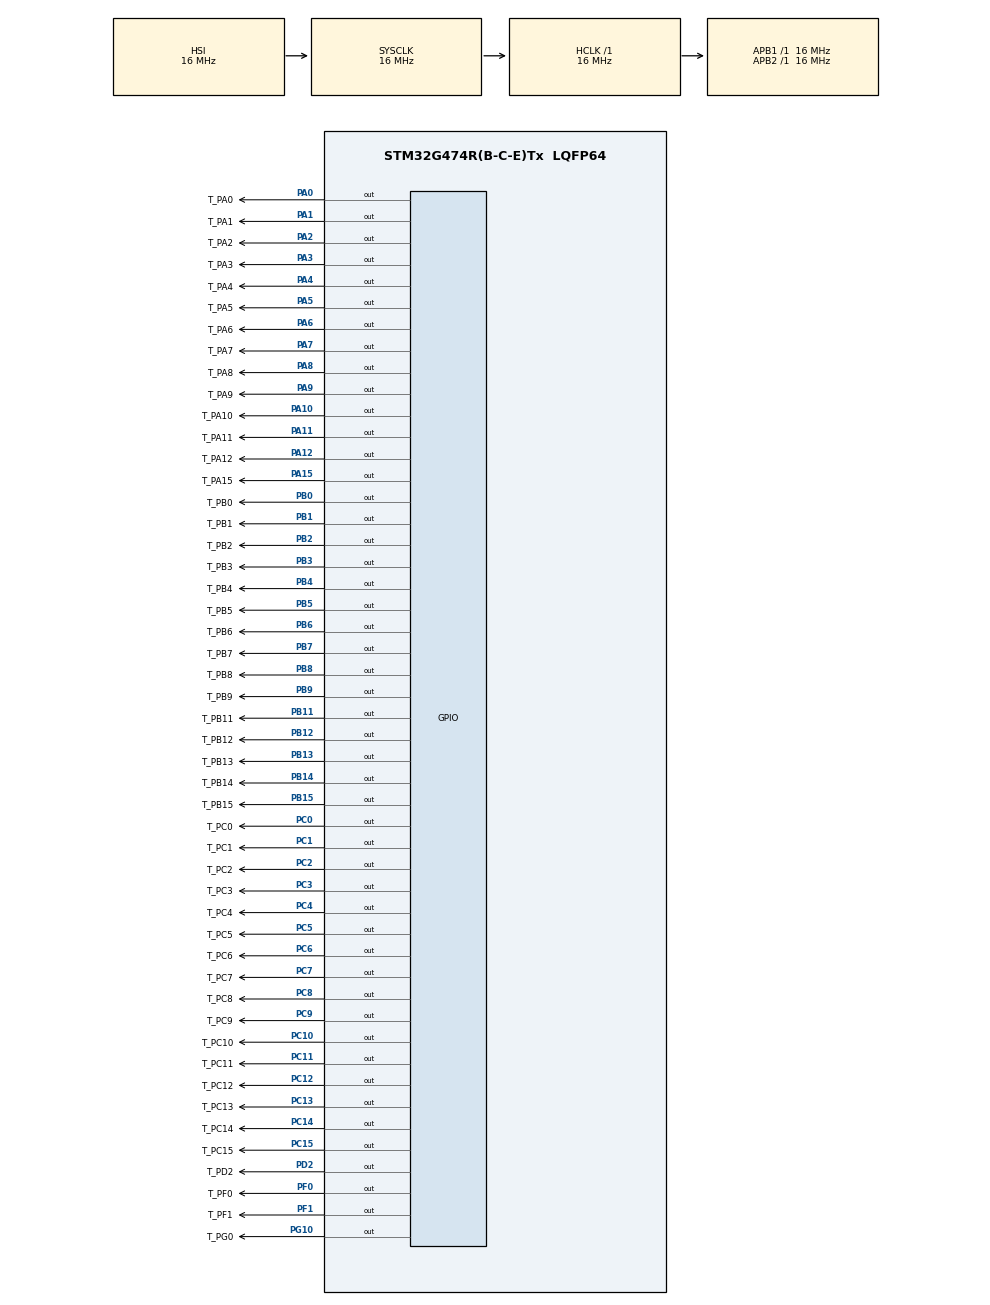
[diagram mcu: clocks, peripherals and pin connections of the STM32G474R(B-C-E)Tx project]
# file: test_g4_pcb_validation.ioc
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Mcu.Family=STM32G4
Mcu.Name=STM32G474R(B-C-E)Tx
Mcu.Package=LQFP64
NVIC.PriorityGroup=NVIC_PRIORITYGROUP_4
PA0.GPIO_Label=T_PA0
PA0.Signal=GPIO_Output
PA1.GPIO_Label=T_PA1
PA1.Signal=GPIO_Output
PA10.GPIO_Label=T_PA10
PA10.Signal=GPIO_Output
PA11.GPIO_Label=T_PA11
PA11.Signal=GPIO_Output
PA12.GPIO_Label=T_PA12
PA12.Signal=GPIO_Output
PA15.GPIO_Label=T_PA15
PA15.Signal=GPIO_Output
PA2.GPIO_Label=T_PA2
PA2.Signal=GPIO_Output
PA3.GPIO_Label=T_PA3
PA3.Signal=GPIO_Output
PA4.GPIO_Label=T_PA4
PA4.Signal=GPIO_Output
PA5.GPIO_Label=T_PA5
PA5.Signal=GPIO_Output
PA6.GPIO_Label=T_PA6
PA6.Signal=GPIO_Output
PA7.GPIO_Label=T_PA7
PA7.Signal=GPIO_Output
PA8.GPIO_Label=T_PA8
PA8.Signal=GPIO_Output
PA9.GPIO_Label=T_PA9
PA9.Signal=GPIO_Output
PB0.GPIO_Label=T_PB0
PB0.Signal=GPIO_Output
PB1.GPIO_Label=T_PB1
PB1.Signal=GPIO_Output
PB11.GPIO_Label=T_PB11
PB11.Signal=GPIO_Output
PB12.GPIO_Label=T_PB12
PB12.Signal=GPIO_Output
PB13.GPIO_Label=T_PB13
PB13.Signal=GPIO_Output
PB14.GPIO_Label=T_PB14
PB14.Signal=GPIO_Output
PB15.GPIO_Label=T_PB15
PB15.Signal=GPIO_Output
PB2.GPIO_Label=T_PB2
PB2.Signal=GPIO_Output
PB3.GPIO_Label=T_PB3
PB3.Signal=GPIO_Output
PB4.GPIO_Label=T_PB4
PB4.Signal=GPIO_Output
PB5.GPIO_Label=T_PB5
PB5.Signal=GPIO_Output
PB6.GPIO_Label=T_PB6
PB6.Signal=GPIO_Output
PB7.GPIO_Label=T_PB7
PB7.Signal=GPIO_Output
PB8-BOOT0.GPIO_Label=T_PB8
PB8-BOOT0.Signal=GPIO_Output
PB9.GPIO_Label=T_PB9
PB9.Signal=GPIO_Output
PC0.GPIO_Label=T_PC0
PC0.Signal=GPIO_Output
PC1.GPIO_Label=T_PC1
PC1.Signal=GPIO_Output
PC10.GPIO_Label=T_PC10
PC10.Signal=GPIO_Output
PC11.GPIO_Label=T_PC11
PC11.Signal=GPIO_Output
PC12.GPIO_Label=T_PC12
PC12.Signal=GPIO_Output
PC13.GPIO_Label=T_PC13
PC13.Signal=GPIO_Output
PC14-OSC32_IN.GPIO_Label=T_PC14
PC14-OSC32_IN.Signal=GPIO_Output
PC15-OSC32_OUT.GPIO_Label=T_PC15
PC15-OSC32_OUT.Signal=GPIO_Output
PC2.GPIO_Label=T_PC2
PC2.Signal=GPIO_Output
PC3.GPIO_Label=T_PC3
PC3.Signal=GPIO_Output
PC4.GPIO_Label=T_PC4
PC4.Signal=GPIO_Output
PC5.GPIO_Label=T_PC5
PC5.Signal=GPIO_Output
PC6.GPIO_Label=T_PC6
PC6.Signal=GPIO_Output
PC7.GPIO_Label=T_PC7
PC7.Signal=GPIO_Output
PC8.GPIO_Label=T_PC8
PC8.Signal=GPIO_Output
PC9.GPIO_Label=T_PC9
PC9.Signal=GPIO_Output
PD2.GPIO_Label=T_PD2
PD2.Signal=GPIO_Output
PF0-OSC_IN.GPIO_Label=T_PF0
PF0-OSC_IN.Signal=GPIO_Output
PF1-OSC_OUT.GPIO_Label=T_PF1
PF1-OSC_OUT.Signal=GPIO_Output
PG10-NRST.GPIO_Label=T_PG0
PG10-NRST.Signal=GPIO_Output
ProjectManager.HeapSize=0x200
ProjectManager.StackSize=0x400
ProjectManager.TargetToolchain=STM32CubeIDE
RCC.ADC12Freq_Value=16000000
RCC.ADC345Freq_Value=16000000
RCC.AHBFreq_Value=16000000
RCC.APB1Freq_Value=16000000
RCC.APB1TimFreq_Value=16000000
RCC.APB2Freq_Value=16000000
RCC.APB2TimFreq_Value=16000000
RCC.CortexFreq_Value=16000000
RCC.EXTERNAL_CLOCK_VALUE=12288000
RCC.HCLKFreq_Value=16000000
RCC.HSE_VALUE=8000000
RCC.HSI48_VALUE=48000000
RCC.HSI_VALUE=16000000
RCC.LSE_VALUE=32768
RCC.PLLN=21
RCC.SYSCLKFreq_VALUE=16000000
RCC.USBFreq_Value=168000000
RCC.VCOOutputFreq_Value=336000000
board=custom

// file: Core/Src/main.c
/* USER CODE BEGIN Header */
/**
  ******************************************************************************
  * @file           : main.c
  * @brief          : Main program body
  ******************************************************************************
  * @attention
  *
  * Copyright (c) 2024 STMicroelectronics.
  * All rights reserved.
  *
  * This software is licensed under terms that can be found in the LICENSE file
  * in the root directory of this software component.
  * If no LICENSE file comes with this software, it is provided AS-IS.
  *
  ******************************************************************************
  */
/* USER CODE END Header */
#include "main.h"
#include "gpio.h"

void SystemClock_Config(void);

/* USER CODE BEGIN 0 */
void delay_us_DWT(unsigned long  uSec)
{
	volatile uint32_t cycles = (SystemCoreClock / 1000000L)*uSec;
	volatile uint32_t start = DWT->CYCCNT;
	do {
	} while (DWT->CYCCNT - start < cycles);
}

#define SLOTS 4
static volatile uint32_t start[4];

void start_us_DWT(int slot)
{
	if (slot < SLOTS) {
		start[slot] = DWT->CYCCNT;
	}
}

unsigned int get_us_DWT(int slot)
{
	if (slot < SLOTS) {
		unsigned long long val;
		if (DWT->CYCCNT < start[slot]) {
			val = (DWT->CYCCNT - start[slot]) + (1LL << 32);
		} else {
			val = (DWT->CYCCNT - start[slot]);
		}
		return val * 1000000L / SystemCoreClock;
	}
	return 0xFFFFFFFF;
}

void doPin(GPIO_TypeDef* port, uint16_t pin){
	HAL_GPIO_WritePin(port, pin, GPIO_PIN_SET);
	HAL_Delay(1000);
	HAL_GPIO_WritePin(port, pin, GPIO_PIN_RESET);
	HAL_Delay(1000);
}

void doPinFast(GPIO_TypeDef* port, uint16_t pin){
	HAL_GPIO_WritePin(port, pin, GPIO_PIN_SET);
	delay_us_DWT(10);
	HAL_GPIO_WritePin(port, pin, GPIO_PIN_RESET);
	delay_us_DWT(1);
}

void doSegmentFast(GPIO_TypeDef* port, uint16_t pinFirst, uint16_t pinLast){
	for (uint16_t pin = pinFirst; pin <= pinLast; pin++){
		doPinFast(port, 1 << pin);
	}
}
/* USER CODE END 0 */

int main(void)
{
  /* USER CODE BEGIN 1 */
	DWT->CYCCNT = 0;
  // Enable hi resolution counter
	DWT->CTRL &= ~0x00000001;
	DWT->CTRL |= 0x00000001;
  /* USER CODE END 1 */

  /* MCU Configuration--------------------------------------------------------*/

  /* Reset of all peripherals, Initializes the Flash interface and the Systick. */
  HAL_Init();

  /* Configure the system clock */
  SystemClock_Config();

  /* Initialize all configured peripherals */
  MX_GPIO_Init();

  /* Infinite loop */
  /* USER CODE BEGIN WHILE */
  while (1)
  {
	HAL_GPIO_WritePin(T_PC13_GPIO_Port, T_PC13_Pin, GPIO_PIN_SET); // start at pin 2
	HAL_Delay(1);
	HAL_GPIO_WritePin(T_PC13_GPIO_Port, T_PC13_Pin, GPIO_PIN_RESET); // start at pin 2
	doSegmentFast(GPIOC, 14, 15);
	doSegmentFast(GPIOF, 0, 1);
	doSegmentFast(GPIOG, 0, 0);
	doSegmentFast(GPIOC, 0, 3);
	doSegmentFast(GPIOA, 0, 7);
	doSegmentFast(GPIOC, 4, 5);
	doSegmentFast(GPIOB, 0, 2);
	doSegmentFast(GPIOB, 11, 15);
	doSegmentFast(GPIOC, 6, 9);
	doSegmentFast(GPIOA, 8, 12);
	doSegmentFast(GPIOA, 15, 15);
	doSegmentFast(GPIOC, 10, 12);
	doSegmentFast(GPIOD, 2, 2);
	doSegmentFast(GPIOB, 4, 9);

    /* USER CODE END WHILE */

  }
}

void SystemClock_Config(void)
{
  RCC_OscInitTypeDef RCC_OscInitStruct = {0};
  RCC_ClkInitTypeDef RCC_ClkInitStruct = {0};

  /** Configure the main internal regulator output voltage
  */
  HAL_PWREx_ControlVoltageScaling(PWR_REGULATOR_VOLTAGE_SCALE1);

  /** Initializes the RCC Oscillators according to the specified parameters
  * in the RCC_OscInitTypeDef structure.
  */
  RCC_OscInitStruct.OscillatorType = RCC_OSCILLATORTYPE_HSI;
  RCC_OscInitStruct.HSIState = RCC_HSI_ON;
  RCC_OscInitStruct.HSICalibrationValue = RCC_HSICALIBRATION_DEFAULT;
  RCC_OscInitStruct.PLL.PLLState = RCC_PLL_NONE;
  if (HAL_RCC_OscConfig(&RCC_OscInitStruct) != HAL_OK)
  {
    Error_Handler();
  }

  /** Initializes the CPU, AHB and APB buses clocks
  */
  RCC_ClkInitStruct.ClockType = RCC_CLOCKTYPE_HCLK|RCC_CLOCKTYPE_SYSCLK
                              |RCC_CLOCKTYPE_PCLK1|RCC_CLOCKTYPE_PCLK2;
  RCC_ClkInitStruct.SYSCLKSource = RCC_SYSCLKSOURCE_HSI;
  RCC_ClkInitStruct.AHBCLKDivider = RCC_SYSCLK_DIV1;
  RCC_ClkInitStruct.APB1CLKDivider = RCC_HCLK_DIV1;
  RCC_ClkInitStruct.APB2CLKDivider = RCC_HCLK_DIV1;

  if (HAL_RCC_ClockConfig(&RCC_ClkInitStruct, FLASH_LATENCY_0) != HAL_OK)
  {
    Error_Handler();
  }
}

void Error_Handler(void)
{
  __disable_irq();
  while (1)
  {
  }
}
